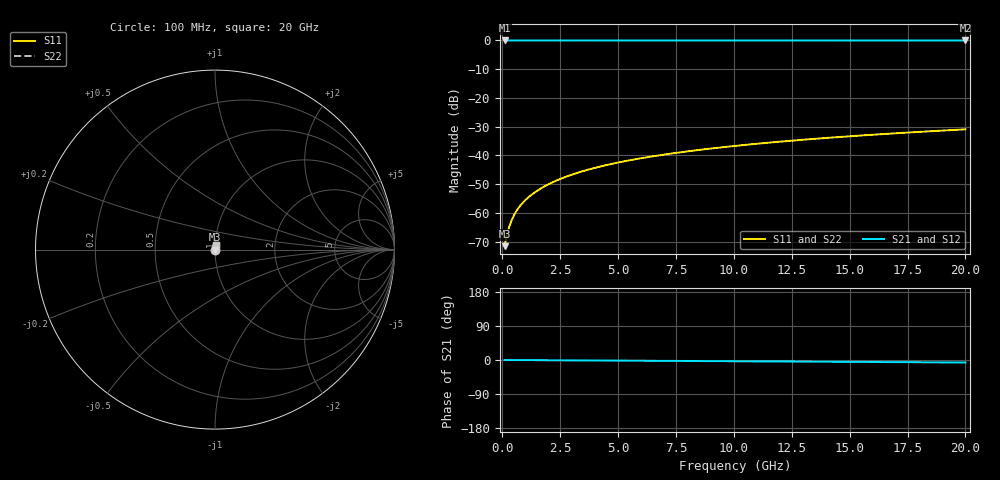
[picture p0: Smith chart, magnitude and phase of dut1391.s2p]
! Touchstone file exported from HFSS 2026.1.0
!  File:  C:/ffzhzh/LocalFiles/Ansys_Project_Files/temp_train_TSV_1391_1783196642_43440.aedt
!  Generated:  04:25:53 AM Jul  5, 2026
!  Design:  TSV
!  Project:  temp_train_TSV_1391_1783196642_43440
! Variables:
!  h_bsmrdl = 2um
!  h_ox = 20um
!  h_rdl = 5um
!  h_sub = 61.44um
!  h_tmrdl = 5um
!  h_tsv = 61.44um
!  h_via = 3um
!  l_bsmrdl = 300um
!  l_sub = 413.5um
!  l_tmrdl = 200um
!  m_sub = 200um
!  pitch = 37.24um
!  r_tsv = 6.75um
!  s_tmrdl = 10um
!  w_bsmrdl = 18um
!  w_sub = 500um
!  w_tmrdl = 12um
!  x_tsv_center1 = 206um
!  x_tsv_center2 = 524um
!  x_tsv_center3 = 736um
!  x_tsv_center4 = 1054um
!  x_tsv_center5 = 1266um
!  x_tsv_center6 = 1584um
# GHz S MA R 50.000000
! Terminal data exported
! Port[1] = TSV1_1_T1
! Port[2] = TSV1_1_T2
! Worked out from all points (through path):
!   200 points, 100 MHz to 20 GHz, reference 50 ohm
!   highest |S21| = 0.00 dB at 100 MHz (marker M1); lowest = 0.0 dB at 20 GHz (marker M2)
!   lowest |S11| = -71.6 dB at 100 MHz (marker M3), VSWR 1.00, Z = 50 + j0.018 ohm
!   |S11| at or under -10 dB: start of sweep to end of sweep
!   |S22| runs from -71.6 to -30.9 dB; largest |S21 - S12| = 2.5e-15
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0.1  0.0002627 43.2  0.9998 -0.0  0.9998 -0.0  0.0002627 43.2
! Gamma 0 0 0 0
! Port Impedance 50 0 50 0
0.2  0.0004102 60.5  0.9998 -0.1  0.9998 -0.1  0.0004102 60.5
0.3  0.0005733 67.7  0.9998 -0.1  0.9998 -0.1  0.0005733 67.7
0.4  0.0007378 71.4  0.9998 -0.1  0.9998 -0.1  0.0007378 71.4
0.5  0.0009 73.5  0.9997 -0.2  0.9997 -0.2  0.0009 73.5
0.6  0.001059 74.9  0.9997 -0.2  0.9997 -0.2  0.001059 74.9
0.7  0.001215 75.9  0.9997 -0.2  0.9997 -0.2  0.001215 75.9
0.8  0.001369 76.7  0.9997 -0.3  0.9997 -0.3  0.001369 76.7
1  0.00167 77.9  0.9997 -0.3  0.9997 -0.3  0.00167 77.9
1.4  0.002264 79.7  0.9996 -0.5  0.9996 -0.5  0.002264 79.7
1.7  0.002706 80.6  0.9996 -0.6  0.9996 -0.6  0.002706 80.6
2  0.003147 81.2  0.9995 -0.7  0.9995 -0.7  0.003147 81.2
2.7  0.004174 82.2  0.9995 -0.9  0.9995 -0.9  0.004174 82.2
3.5  0.005339 82.7  0.9994 -1.2  0.9994 -1.2  0.005339 82.7
4.2  0.00635 83.0  0.9994 -1.4  0.9994 -1.4  0.00635 83.0
5  0.007497 83.1  0.9993 -1.7  0.9993 -1.7  0.007497 83.1
6.8  0.01005 83.2  0.9991 -2.2  0.9991 -2.2  0.01005 83.2
8.3  0.01216 83.1  0.999 -2.7  0.999 -2.7  0.01216 83.1
10.1  0.01468 82.9  0.9989 -3.3  0.9989 -3.3  0.01468 82.9
13.4  0.01927 82.3  0.9987 -4.4  0.9987 -4.4  0.01927 82.3
16.7  0.02384 81.5  0.9985 -5.5  0.9985 -5.5  0.02384 81.5
20  0.02837 80.7  0.9982 -6.5  0.9982 -6.5  0.02837 80.7
